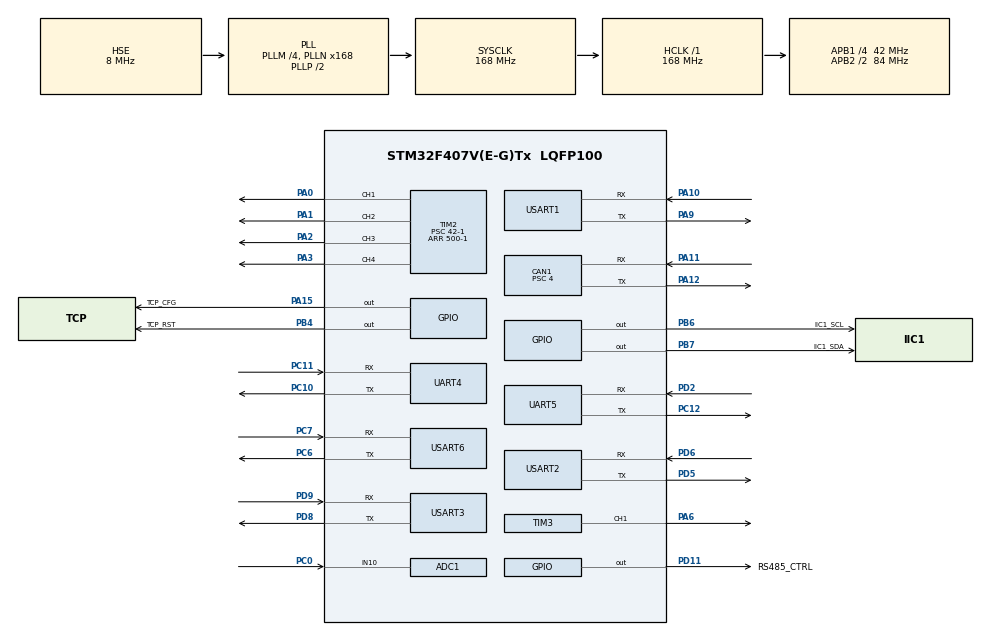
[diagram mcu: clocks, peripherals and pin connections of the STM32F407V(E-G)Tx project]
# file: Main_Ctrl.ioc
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ADC1.Channel-0\#ChannelRegularConversion=ADC_CHANNEL_10
ADC1.NbrOfConversionFlag=1
ADC1.Rank-0\#ChannelRegularConversion=1
ADC1.SamplingTime-0\#ChannelRegularConversion=ADC_SAMPLETIME_3CYCLES
ADC1.master=1
CAN1.BS1=CAN_BS1_14TQ
CAN1.BS2=CAN_BS2_6TQ
CAN1.CalculateBaudRate=500000
CAN1.CalculateTimeBit=2000
CAN1.CalculateTimeQuantum=95.23809523809524
CAN1.Prescaler=4
Dma.Request0=USART1_RX
Dma.Request1=USART1_TX
Dma.Request10=UART4_RX
Dma.Request11=UART4_TX
Dma.Request2=USART3_RX
Dma.Request3=USART3_TX
Dma.Request4=UART5_TX
Dma.Request5=UART5_RX
Dma.Request6=USART6_RX
Dma.Request7=USART6_TX
Dma.Request8=USART2_RX
Dma.Request9=USART2_TX
Dma.UART4_RX.10.Direction=DMA_PERIPH_TO_MEMORY
Dma.UART4_RX.10.FIFOMode=DMA_FIFOMODE_DISABLE
Dma.UART4_RX.10.Instance=DMA1_Stream2
Dma.UART4_RX.10.MemDataAlignment=DMA_MDATAALIGN_BYTE
Dma.UART4_RX.10.MemInc=DMA_MINC_ENABLE
Dma.UART4_RX.10.Mode=DMA_CIRCULAR
Dma.UART4_RX.10.PeriphDataAlignment=DMA_PDATAALIGN_BYTE
Dma.UART4_RX.10.PeriphInc=DMA_PINC_DISABLE
Dma.UART4_RX.10.Priority=DMA_PRIORITY_LOW
Dma.UART4_TX.11.Direction=DMA_MEMORY_TO_PERIPH
Dma.UART4_TX.11.FIFOMode=DMA_FIFOMODE_DISABLE
Dma.UART4_TX.11.Instance=DMA1_Stream4
Dma.UART4_TX.11.MemDataAlignment=DMA_MDATAALIGN_BYTE
Dma.UART4_TX.11.MemInc=DMA_MINC_ENABLE
Dma.UART4_TX.11.Mode=DMA_NORMAL
Dma.UART4_TX.11.PeriphDataAlignment=DMA_PDATAALIGN_BYTE
Dma.UART4_TX.11.PeriphInc=DMA_PINC_DISABLE
Dma.UART4_TX.11.Priority=DMA_PRIORITY_LOW
Dma.UART5_RX.5.Direction=DMA_PERIPH_TO_MEMORY
Dma.UART5_RX.5.FIFOMode=DMA_FIFOMODE_DISABLE
Dma.UART5_RX.5.Instance=DMA1_Stream0
Dma.UART5_RX.5.MemDataAlignment=DMA_MDATAALIGN_BYTE
Dma.UART5_RX.5.MemInc=DMA_MINC_ENABLE
Dma.UART5_RX.5.Mode=DMA_CIRCULAR
Dma.UART5_RX.5.PeriphDataAlignment=DMA_PDATAALIGN_BYTE
Dma.UART5_RX.5.PeriphInc=DMA_PINC_DISABLE
Dma.UART5_RX.5.Priority=DMA_PRIORITY_LOW
Dma.UART5_TX.4.Direction=DMA_MEMORY_TO_PERIPH
Dma.UART5_TX.4.FIFOMode=DMA_FIFOMODE_DISABLE
Dma.UART5_TX.4.Instance=DMA1_Stream7
Dma.UART5_TX.4.MemDataAlignment=DMA_MDATAALIGN_BYTE
Dma.UART5_TX.4.MemInc=DMA_MINC_ENABLE
Dma.UART5_TX.4.Mode=DMA_NORMAL
Dma.UART5_TX.4.PeriphDataAlignment=DMA_PDATAALIGN_BYTE
Dma.UART5_TX.4.PeriphInc=DMA_PINC_DISABLE
Dma.UART5_TX.4.Priority=DMA_PRIORITY_LOW
Dma.USART1_RX.0.Direction=DMA_PERIPH_TO_MEMORY
Dma.USART1_RX.0.FIFOMode=DMA_FIFOMODE_DISABLE
Dma.USART1_RX.0.Instance=DMA2_Stream2
Dma.USART1_RX.0.MemDataAlignment=DMA_MDATAALIGN_BYTE
Dma.USART1_RX.0.MemInc=DMA_MINC_ENABLE
Dma.USART1_RX.0.Mode=DMA_CIRCULAR
Dma.USART1_RX.0.PeriphDataAlignment=DMA_PDATAALIGN_BYTE
Dma.USART1_RX.0.PeriphInc=DMA_PINC_DISABLE
Dma.USART1_RX.0.Priority=DMA_PRIORITY_LOW
Dma.USART1_TX.1.Direction=DMA_MEMORY_TO_PERIPH
Dma.USART1_TX.1.FIFOMode=DMA_FIFOMODE_DISABLE
Dma.USART1_TX.1.Instance=DMA2_Stream7
Dma.USART1_TX.1.MemDataAlignment=DMA_MDATAALIGN_BYTE
Dma.USART1_TX.1.MemInc=DMA_MINC_ENABLE
Dma.USART1_TX.1.Mode=DMA_NORMAL
Dma.USART1_TX.1.PeriphDataAlignment=DMA_PDATAALIGN_BYTE
Dma.USART1_TX.1.PeriphInc=DMA_PINC_DISABLE
Dma.USART1_TX.1.Priority=DMA_PRIORITY_LOW
Dma.USART2_RX.8.Direction=DMA_PERIPH_TO_MEMORY
Dma.USART2_RX.8.FIFOMode=DMA_FIFOMODE_DISABLE
Dma.USART2_RX.8.Instance=DMA1_Stream5
Dma.USART2_RX.8.MemDataAlignment=DMA_MDATAALIGN_BYTE
Dma.USART2_RX.8.MemInc=DMA_MINC_ENABLE
Dma.USART2_RX.8.Mode=DMA_CIRCULAR
Dma.USART2_RX.8.PeriphDataAlignment=DMA_PDATAALIGN_BYTE
Dma.USART2_RX.8.PeriphInc=DMA_PINC_DISABLE
Dma.USART2_RX.8.Priority=DMA_PRIORITY_LOW
Dma.USART2_TX.9.Direction=DMA_MEMORY_TO_PERIPH
Dma.USART2_TX.9.FIFOMode=DMA_FIFOMODE_DISABLE
Dma.USART2_TX.9.Instance=DMA1_Stream6
Dma.USART2_TX.9.MemDataAlignment=DMA_MDATAALIGN_BYTE
Dma.USART2_TX.9.MemInc=DMA_MINC_ENABLE
Dma.USART2_TX.9.Mode=DMA_NORMAL
Dma.USART2_TX.9.PeriphDataAlignment=DMA_PDATAALIGN_BYTE
Dma.USART2_TX.9.PeriphInc=DMA_PINC_DISABLE
Dma.USART2_TX.9.Priority=DMA_PRIORITY_LOW
Dma.USART3_RX.2.Direction=DMA_PERIPH_TO_MEMORY
Dma.USART3_RX.2.FIFOMode=DMA_FIFOMODE_DISABLE
Dma.USART3_RX.2.Instance=DMA1_Stream1
Dma.USART3_RX.2.MemDataAlignment=DMA_MDATAALIGN_BYTE
Dma.USART3_RX.2.MemInc=DMA_MINC_ENABLE
Dma.USART3_RX.2.Mode=DMA_CIRCULAR
Dma.USART3_RX.2.PeriphDataAlignment=DMA_PDATAALIGN_BYTE
Dma.USART3_RX.2.PeriphInc=DMA_PINC_DISABLE
Dma.USART3_RX.2.Priority=DMA_PRIORITY_LOW
Dma.USART3_TX.3.Direction=DMA_MEMORY_TO_PERIPH
Dma.USART3_TX.3.FIFOMode=DMA_FIFOMODE_DISABLE
Dma.USART3_TX.3.Instance=DMA1_Stream3
Dma.USART3_TX.3.MemDataAlignment=DMA_MDATAALIGN_BYTE
Dma.USART3_TX.3.MemInc=DMA_MINC_ENABLE
Dma.USART3_TX.3.Mode=DMA_NORMAL
Dma.USART3_TX.3.PeriphDataAlignment=DMA_PDATAALIGN_BYTE
Dma.USART3_TX.3.PeriphInc=DMA_PINC_DISABLE
Dma.USART3_TX.3.Priority=DMA_PRIORITY_LOW
Dma.USART6_RX.6.Direction=DMA_PERIPH_TO_MEMORY
Dma.USART6_RX.6.FIFOMode=DMA_FIFOMODE_DISABLE
Dma.USART6_RX.6.Instance=DMA2_Stream1
Dma.USART6_RX.6.MemDataAlignment=DMA_MDATAALIGN_BYTE
Dma.USART6_RX.6.MemInc=DMA_MINC_ENABLE
Dma.USART6_RX.6.Mode=DMA_CIRCULAR
Dma.USART6_RX.6.PeriphDataAlignment=DMA_PDATAALIGN_BYTE
Dma.USART6_RX.6.PeriphInc=DMA_PINC_DISABLE
Dma.USART6_RX.6.Priority=DMA_PRIORITY_LOW
Dma.USART6_TX.7.Direction=DMA_MEMORY_TO_PERIPH
Dma.USART6_TX.7.FIFOMode=DMA_FIFOMODE_DISABLE
Dma.USART6_TX.7.Instance=DMA2_Stream6
Dma.USART6_TX.7.MemDataAlignment=DMA_MDATAALIGN_BYTE
Dma.USART6_TX.7.MemInc=DMA_MINC_ENABLE
Dma.USART6_TX.7.Mode=DMA_NORMAL
Dma.USART6_TX.7.PeriphDataAlignment=DMA_PDATAALIGN_BYTE
Dma.USART6_TX.7.PeriphInc=DMA_PINC_DISABLE
Dma.USART6_TX.7.Priority=DMA_PRIORITY_LOW
FREERTOS.Mutexes01=Vertical_Mutex,Dynamic,NULL,Available;Horizontal_Mutex,Dynamic,NULL,Available
FREERTOS.Tasks01=defaultTask,24,128,StartDefaultTask,Default,NULL,Dynamic,NULL,NULL;CAN1_Propel_TasK,52,128,CAN1_SendData,As external,NULL,Dynamic,NULL,NULL;ROV_Feedback_Task,51,128,ROV_FeedbackData,As external,NULL,Dynamic,NULL,NULL;ROV_Receive_Task,54,256,ROV_ReceiveData,As external,NULL,Dynamic,NULL,NULL;Init_Task,55,128,Global_Init,Default,NULL,Dynamic,NULL,NULL;Cabin_Env_Data_Task,50,128,ControlCabin_GetData,Default,NULL,Dynamic,NULL,NULL;PWM_Task,50,128,PWM_Ctrl,Default,NULL,Dynamic,NULL,NULL;Press_Data_Task,51,128,Press_DataPro,As external,NULL,Dynamic,NULL,NULL;Compass_Data_Task,51,128,Compass_GetData,As external,NULL,Dynamic,NULL,NULL;RS485_Propel_Tx_Task,52,128,RS485_Propel_Set,As external,NULL,Dynamic,NULL,NULL;RS485_Propel_Rx_Task,52,128,RS485_Propel_Receive,As external,NULL,Dynamic,NULL,NULL;Manual_V_Task,53,128,Manual_V_Ctrl,As external,NULL,Dynamic,NULL,NULL;Manual_H_Task,53,128,Manual_H_Ctrl,As external,NULL,Dynamic,NULL,NULL;Auto_V_Task,53,128,Auto_V_Ctrl,As external,NULL,Dynamic,NULL,NULL;Auto_H_Task,53,128,Auto_H_Ctrl,As external,NULL,Dynamic,NULL,NULL;Enc_Data_Task,50,128,Encoder_Data_Get,As external,NULL,Dynamic,NULL,NULL
FREERTOS.Timers01=Timer_Standby,Standby_Callback,osTimerPeriodic,Default,NULL,Dynamic,NULL
FREERTOS.configMAX_TASK_NAME_LEN=24
Mcu.Family=STM32F4
Mcu.Name=STM32F407V(E-G)Tx
Mcu.Package=LQFP100
NVIC.CAN1_RX0_IRQn=true\:5\:0\:false\:false\:true\:true\:true\:true\:true
NVIC.DMA1_Stream0_IRQn=true\:5\:0\:false\:false\:true\:true\:false\:true\:true
NVIC.DMA1_Stream1_IRQn=true\:5\:0\:false\:false\:true\:true\:false\:true\:true
NVIC.DMA1_Stream2_IRQn=true\:5\:0\:false\:false\:true\:true\:false\:true\:true
NVIC.DMA1_Stream3_IRQn=true\:5\:0\:false\:false\:true\:true\:false\:true\:true
NVIC.DMA1_Stream4_IRQn=true\:5\:0\:false\:false\:true\:true\:false\:true\:true
NVIC.DMA1_Stream5_IRQn=true\:5\:0\:false\:false\:true\:true\:false\:true\:true
NVIC.DMA1_Stream6_IRQn=true\:5\:0\:false\:false\:true\:true\:false\:true\:true
NVIC.DMA1_Stream7_IRQn=true\:5\:0\:false\:false\:true\:true\:false\:true\:true
NVIC.DMA2_Stream1_IRQn=true\:5\:0\:false\:false\:true\:true\:false\:true\:true
NVIC.DMA2_Stream2_IRQn=true\:5\:0\:false\:false\:true\:true\:false\:true\:true
NVIC.DMA2_Stream6_IRQn=true\:5\:0\:false\:false\:true\:true\:false\:true\:true
NVIC.DMA2_Stream7_IRQn=true\:5\:0\:false\:false\:true\:true\:false\:true\:true
NVIC.PriorityGroup=NVIC_PRIORITYGROUP_4
NVIC.TIM7_IRQn=true\:0\:0\:true\:false\:true\:false\:false\:true\:true
NVIC.TimeBase=TIM7_IRQn
NVIC.TimeBaseIP=TIM7
NVIC.UART4_IRQn=true\:5\:0\:false\:false\:true\:true\:true\:true\:true
NVIC.UART5_IRQn=true\:5\:0\:false\:false\:true\:true\:true\:true\:true
NVIC.USART1_IRQn=true\:5\:0\:false\:false\:true\:true\:true\:true\:true
NVIC.USART2_IRQn=true\:5\:0\:false\:false\:true\:true\:true\:true\:true
NVIC.USART3_IRQn=true\:5\:0\:false\:false\:true\:true\:true\:true\:true
NVIC.USART6_IRQn=true\:5\:0\:false\:false\:true\:true\:true\:true\:true
PA0-WKUP.Signal=S_TIM2_CH1_ETR
PA1.Signal=S_TIM2_CH2
PA10.Mode=Asynchronous
PA10.Signal=USART1_RX
PA11.Mode=CAN_Activate
PA11.Signal=CAN1_RX
PA12.Mode=CAN_Activate
PA12.Signal=CAN1_TX
PA13.Mode=Serial_Wire
PA13.Signal=SYS_JTMS-SWDIO
PA14.Mode=Serial_Wire
PA14.Signal=SYS_JTCK-SWCLK
PA15.GPIO_Label=TCP_CFG
PA15.PinState=GPIO_PIN_SET
PA15.Signal=GPIO_Output
PA2.Signal=S_TIM2_CH3
PA3.Signal=S_TIM2_CH4
PA6.Signal=S_TIM3_CH1
PA9.Mode=Asynchronous
PA9.Signal=USART1_TX
PB4.GPIO_Label=TCP_RST
PB4.PinState=GPIO_PIN_SET
PB4.Signal=GPIO_Output
PB6.GPIO_Label=IIC1_SCL
PB6.GPIO_PuPd=GPIO_PULLUP
PB6.GPIO_Speed=GPIO_SPEED_FREQ_HIGH
PB6.Signal=GPIO_Output
PB7.GPIO_Label=IIC1_SDA
PB7.GPIO_ModeDefaultOutputPP=GPIO_MODE_OUTPUT_OD
PB7.GPIO_PuPd=GPIO_PULLUP
PB7.GPIO_Speed=GPIO_SPEED_FREQ_HIGH
PB7.Signal=GPIO_Output
PC0.Signal=ADCx_IN10
PC10.Mode=Asynchronous
PC10.Signal=UART4_TX
PC11.Mode=Asynchronous
PC11.Signal=UART4_RX
PC12.Mode=Asynchronous
PC12.Signal=UART5_TX
PC6.Mode=Asynchronous
PC6.Signal=USART6_TX
PC7.Mode=Asynchronous
PC7.Signal=USART6_RX
PD11.GPIO_Label=RS485_CTRL
PD11.GPIO_PuPd=GPIO_PULLUP
PD11.Signal=GPIO_Output
PD2.Mode=Asynchronous
PD2.Signal=UART5_RX
PD5.Mode=Asynchronous
PD5.Signal=USART2_TX
PD6.Mode=Asynchronous
PD6.Signal=USART2_RX
PD8.Mode=Asynchronous
PD8.Signal=USART3_TX
PD9.Mode=Asynchronous
PD9.Signal=USART3_RX
PH0-OSC_IN.Mode=HSE-External-Oscillator
PH0-OSC_IN.Signal=RCC_OSC_IN
PH1-OSC_OUT.Mode=HSE-External-Oscillator
PH1-OSC_OUT.Signal=RCC_OSC_OUT
ProjectManager.HeapSize=0x200
ProjectManager.StackSize=0x400
ProjectManager.TargetToolchain=MDK-ARM V5.32
RCC.48MHZClocksFreq_Value=84000000
RCC.AHBFreq_Value=168000000
RCC.APB1CLKDivider=RCC_HCLK_DIV4
RCC.APB1Freq_Value=42000000
RCC.APB1TimFreq_Value=84000000
RCC.APB2CLKDivider=RCC_HCLK_DIV2
RCC.APB2Freq_Value=84000000
RCC.APB2TimFreq_Value=168000000
RCC.CortexFreq_Value=168000000
RCC.HCLKFreq_Value=168000000
RCC.HSE_VALUE=8000000
RCC.HSI_VALUE=16000000
RCC.LSE_VALUE=32768
RCC.PLLM=4
RCC.PLLN=168
RCC.PLLSourceVirtual=RCC_PLLSOURCE_HSE
RCC.SYSCLKFreq_VALUE=168000000
RCC.SYSCLKSource=RCC_SYSCLKSOURCE_PLLCLK
RCC.VCOOutputFreq_Value=336000000
SH.ADCx_IN10.0=ADC1_IN10,IN10
SH.S_TIM2_CH1_ETR.0=TIM2_CH1,PWM Generation1 CH1
SH.S_TIM2_CH2.0=TIM2_CH2,PWM Generation2 CH2
SH.S_TIM2_CH3.0=TIM2_CH3,PWM Generation3 CH3
SH.S_TIM2_CH4.0=TIM2_CH4,PWM Generation4 CH4
SH.S_TIM3_CH1.0=TIM3_CH1,PWM Generation1 CH1
TIM2.Channel-PWM\ Generation1\ CH1=TIM_CHANNEL_1
TIM2.Channel-PWM\ Generation2\ CH2=TIM_CHANNEL_2
TIM2.Channel-PWM\ Generation3\ CH3=TIM_CHANNEL_3
TIM2.Channel-PWM\ Generation4\ CH4=TIM_CHANNEL_4
TIM2.Period=500-1
TIM2.Prescaler=42-1
TIM2.Pulse-PWM\ Generation1\ CH1=0
TIM2.Pulse-PWM\ Generation2\ CH2=0
TIM2.Pulse-PWM\ Generation3\ CH3=0
TIM2.Pulse-PWM\ Generation4\ CH4=0
TIM3.Channel-PWM\ Generation1\ CH1=TIM_CHANNEL_1
TIM3.Period=20000-1
TIM3.Prescaler=84-1
TIM3.Pulse-PWM\ Generation1\ CH1=1500-1
UART4.VirtualMode=Asynchronous
UART5.VirtualMode=Asynchronous
USART1.VirtualMode=VM_ASYNC
USART2.VirtualMode=VM_ASYNC
USART3.VirtualMode=VM_ASYNC
USART6.VirtualMode=VM_ASYNC
VP_FREERTOS_VS_CMSIS_V2.Mode=CMSIS_V2
VP_SYS_VS_tim7.Mode=TIM7
VP_TIM2_VS_ClockSourceINT.Mode=Internal
VP_TIM3_VS_ClockSourceINT.Mode=Internal
board=custom

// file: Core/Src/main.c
/* USER CODE BEGIN Header */
/**
  ******************************************************************************
  * @file           : main.c
  * @brief          : Main program body
  ******************************************************************************
  * @attention
  *
  * Copyright (c) 2025 STMicroelectronics.
  * All rights reserved.
  *
  * This software is licensed under terms that can be found in the LICENSE file
  * in the root directory of this software component.
  * If no LICENSE file comes with this software, it is provided AS-IS.
  *
  ******************************************************************************
  */
/* USER CODE END Header */
#include "main.h"
#include "cmsis_os.h"
#include "adc.h"
#include "can.h"
#include "dma.h"
#include "tim.h"
#include "usart.h"
#include "gpio.h"

/* USER CODE BEGIN Includes */
#include "Global_Define.h"
/* USER CODE END Includes */

void SystemClock_Config(void);
void MX_FREERTOS_Init(void);

int main(void)
{

  /* MCU Configuration--------------------------------------------------------*/

  /* Reset of all peripherals, Initializes the Flash interface and the Systick. */
  HAL_Init();

  /* Configure the system clock */
  SystemClock_Config();

  /* Initialize all configured peripherals */
  MX_GPIO_Init();
  MX_DMA_Init();
  MX_USART1_UART_Init();
  MX_CAN1_Init();
  MX_USART2_UART_Init();
  MX_UART4_Init();
  MX_USART3_UART_Init();
  MX_UART5_Init();
  MX_USART6_UART_Init();
  MX_TIM2_Init();
  MX_TIM3_Init();
  MX_ADC1_Init();

  /* Init scheduler */
  osKernelInitialize();

  /* Call init function for freertos objects (in cmsis_os2.c) */
  MX_FREERTOS_Init();

  /* Start scheduler */
  osKernelStart();

  /* We should never get here as control is now taken by the scheduler */

  /* Infinite loop */
  while (1)
  {

  }
}

void SystemClock_Config(void)
{
  RCC_OscInitTypeDef RCC_OscInitStruct = {0};
  RCC_ClkInitTypeDef RCC_ClkInitStruct = {0};

  /** Configure the main internal regulator output voltage
  */
  __HAL_RCC_PWR_CLK_ENABLE();
  __HAL_PWR_VOLTAGESCALING_CONFIG(PWR_REGULATOR_VOLTAGE_SCALE1);

  /** Initializes the RCC Oscillators according to the specified parameters
  * in the RCC_OscInitTypeDef structure.
  */
  RCC_OscInitStruct.OscillatorType = RCC_OSCILLATORTYPE_HSE;
  RCC_OscInitStruct.HSEState = RCC_HSE_ON;
  RCC_OscInitStruct.PLL.PLLState = RCC_PLL_ON;
  RCC_OscInitStruct.PLL.PLLSource = RCC_PLLSOURCE_HSE;
  RCC_OscInitStruct.PLL.PLLM = 4;
  RCC_OscInitStruct.PLL.PLLN = 168;
  RCC_OscInitStruct.PLL.PLLP = RCC_PLLP_DIV2;
  RCC_OscInitStruct.PLL.PLLQ = 4;
  if (HAL_RCC_OscConfig(&RCC_OscInitStruct) != HAL_OK)
  {
    Error_Handler();
  }

  /** Initializes the CPU, AHB and APB buses clocks
  */
  RCC_ClkInitStruct.ClockType = RCC_CLOCKTYPE_HCLK|RCC_CLOCKTYPE_SYSCLK
                              |RCC_CLOCKTYPE_PCLK1|RCC_CLOCKTYPE_PCLK2;
  RCC_ClkInitStruct.SYSCLKSource = RCC_SYSCLKSOURCE_PLLCLK;
  RCC_ClkInitStruct.AHBCLKDivider = RCC_SYSCLK_DIV1;
  RCC_ClkInitStruct.APB1CLKDivider = RCC_HCLK_DIV4;
  RCC_ClkInitStruct.APB2CLKDivider = RCC_HCLK_DIV2;

  if (HAL_RCC_ClockConfig(&RCC_ClkInitStruct, FLASH_LATENCY_5) != HAL_OK)
  {
    Error_Handler();
  }
}

void HAL_TIM_PeriodElapsedCallback(TIM_HandleTypeDef *htim)
{
  if (htim->Instance == TIM7) {
    HAL_IncTick();
  }
}

void Error_Handler(void)
{
  __disable_irq();
  while (1)
  {
  }
}

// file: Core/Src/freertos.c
/* USER CODE BEGIN Header */
/**
  ******************************************************************************
  * File Name          : freertos.c
  * Description        : Code for freertos applications
  ******************************************************************************
  * @attention
  *
  * Copyright (c) 2025 STMicroelectronics.
  * All rights reserved.
  *
  * This software is licensed under terms that can be found in the LICENSE file
  * in the root directory of this software component.
  * If no LICENSE file comes with this software, it is provided AS-IS.
  *
  ******************************************************************************
  */
/* USER CODE END Header */

#include "FreeRTOS.h"
#include "task.h"
#include "main.h"
#include "cmsis_os.h"

/* USER CODE BEGIN Includes */
#include "Global_Define.h"
/* USER CODE END Includes */

/* Definitions for defaultTask */
osThreadId_t defaultTaskHandle;
const osThreadAttr_t defaultTask_attributes = {
  .name = "defaultTask",
  .stack_size = 128 * 4,
  .priority = (osPriority_t) osPriorityNormal,
};
/* Definitions for CAN1_Propel_TasK */
osThreadId_t CAN1_Propel_TasKHandle;
const osThreadAttr_t CAN1_Propel_TasK_attributes = {
  .name = "CAN1_Propel_TasK",
  .stack_size = 128 * 4,
  .priority = (osPriority_t) osPriorityRealtime4,
};
/* Definitions for ROV_Feedback_Task */
osThreadId_t ROV_Feedback_TaskHandle;
const osThreadAttr_t ROV_Feedback_Task_attributes = {
  .name = "ROV_Feedback_Task",
  .stack_size = 128 * 4,
  .priority = (osPriority_t) osPriorityRealtime3,
};
/* Definitions for ROV_Receive_Task */
osThreadId_t ROV_Receive_TaskHandle;
const osThreadAttr_t ROV_Receive_Task_attributes = {
  .name = "ROV_Receive_Task",
  .stack_size = 256 * 4,
  .priority = (osPriority_t) osPriorityRealtime6,
};
/* Definitions for Init_Task */
osThreadId_t Init_TaskHandle;
const osThreadAttr_t Init_Task_attributes = {
  .name = "Init_Task",
  .stack_size = 128 * 4,
  .priority = (osPriority_t) osPriorityRealtime7,
};
/* Definitions for Cabin_Env_Data_Task */
osThreadId_t Cabin_Env_Data_TaskHandle;
const osThreadAttr_t Cabin_Env_Data_Task_attributes = {
  .name = "Cabin_Env_Data_Task",
  .stack_size = 128 * 4,
  .priority = (osPriority_t) osPriorityRealtime2,
};
/* Definitions for PWM_Task */
osThreadId_t PWM_TaskHandle;
const osThreadAttr_t PWM_Task_attributes = {
  .name = "PWM_Task",
  .stack_size = 128 * 4,
  .priority = (osPriority_t) osPriorityRealtime2,
};
/* Definitions for Press_Data_Task */
osThreadId_t Press_Data_TaskHandle;
const osThreadAttr_t Press_Data_Task_attributes = {
  .name = "Press_Data_Task",
  .stack_size = 128 * 4,
  .priority = (osPriority_t) osPriorityRealtime3,
};
/* Definitions for Compass_Data_Task */
osThreadId_t Compass_Data_TaskHandle;
const osThreadAttr_t Compass_Data_Task_attributes = {
  .name = "Compass_Data_Task",
  .stack_size = 128 * 4,
  .priority = (osPriority_t) osPriorityRealtime3,
};
/* Definitions for RS485_Propel_Tx_Task */
osThreadId_t RS485_Propel_TaskHandle;
const osThreadAttr_t RS485_Propel_Task_attributes = {
  .name = "RS485_Propel_Task",
  .stack_size = 128 * 4,
  .priority = (osPriority_t) osPriorityRealtime4,
};

/* Definitions for Manual_V_Task */
osThreadId_t Manual_V_TaskHandle;
const osThreadAttr_t Manual_V_Task_attributes = {
  .name = "Manual_V_Task",
  .stack_size = 128 * 4,
  .priority = (osPriority_t) osPriorityRealtime5,
};
/* Definitions for Manual_H_Task */
osThreadId_t Manual_H_TaskHandle;
const osThreadAttr_t Manual_H_Task_attributes = {
  .name = "Manual_H_Task",
  .stack_size = 128 * 4,
  .priority = (osPriority_t) osPriorityRealtime5,
};
/* Definitions for Auto_V_Task */
osThreadId_t Auto_V_TaskHandle;
const osThreadAttr_t Auto_V_Task_attributes = {
  .name = "Auto_V_Task",
  .stack_size = 128 * 4,
  .priority = (osPriority_t) osPriorityRealtime5,
};
/* Definitions for Auto_H_Task */
osThreadId_t Auto_H_TaskHandle;
const osThreadAttr_t Auto_H_Task_attributes = {
  .name = "Auto_H_Task",
  .stack_size = 128 * 4,
  .priority = (osPriority_t) osPriorityRealtime5,
};
/* Definitions for Enc_Data_Task */
osThreadId_t Enc_Data_TaskHandle;
const osThreadAttr_t Enc_Data_Task_attributes = {
  .name = "Enc_Data_Task",
  .stack_size = 128 * 4,
  .priority = (osPriority_t) osPriorityRealtime2,
};
/* Definitions for Timer_Standby */
osTimerId_t Timer_StandbyHandle;
const osTimerAttr_t Timer_Standby_attributes = {
  .name = "Timer_Standby"
};
/* Definitions for Vertical_Mutex */
osMutexId_t Vertical_MutexHandle;
const osMutexAttr_t Vertical_Mutex_attributes = {
  .name = "Vertical_Mutex"
};
/* Definitions for Horizontal_Mutex */
osMutexId_t Horizontal_MutexHandle;
const osMutexAttr_t Horizontal_Mutex_attributes = {
  .name = "Horizontal_Mutex"
};

void StartDefaultTask(void *argument);
extern void CAN1_SendData(void *argument);
extern void ROV_FeedbackData(void *argument);
extern void ROV_ReceiveData(void *argument);
void Global_Init(void *argument);
void ControlCabin_GetData(void *argument);
void PWM_Ctrl(void *argument);
extern void Press_DataPro(void *argument);
extern void Compass_GetData(void *argument);
extern void Prop_485_Task(void *argument);
extern void RS485_Propel_Receive(void *argument);
extern void Manual_V_Ctrl(void *argument);
extern void Manual_H_Ctrl(void *argument);
extern void Auto_V_Ctrl(void *argument);
extern void Auto_H_Ctrl(void *argument);
extern void Encoder_Data_Get(void *argument);
void Standby_Callback(void *argument);

void MX_FREERTOS_Init(void); /* (MISRA C 2004 rule 8.1) */

void MX_FREERTOS_Init(void) {
  /* Create the mutex(es) */
  /* creation of Vertical_Mutex */
  Vertical_MutexHandle = osMutexNew(&Vertical_Mutex_attributes);

  /* creation of Horizontal_Mutex */
  Horizontal_MutexHandle = osMutexNew(&Horizontal_Mutex_attributes);

  /* Create the timer(s) */
  /* creation of Timer_Standby */
  Timer_StandbyHandle = osTimerNew(Standby_Callback, osTimerPeriodic, NULL, &Timer_Standby_attributes);

  /* Create the thread(s) */
  /* creation of defaultTask */
  defaultTaskHandle = osThreadNew(StartDefaultTask, NULL, &defaultTask_attributes);

  /* creation of CAN1_Propel_TasK */
  CAN1_Propel_TasKHandle = osThreadNew(CAN1_SendData, NULL, &CAN1_Propel_TasK_attributes);

  /* creation of ROV_Feedback_Task */
  ROV_Feedback_TaskHandle = osThreadNew(ROV_FeedbackData, NULL, &ROV_Feedback_Task_attributes);

  /* creation of ROV_Receive_Task */
  ROV_Receive_TaskHandle = osThreadNew(ROV_ReceiveData, NULL, &ROV_Receive_Task_attributes);

  /* creation of Init_Task */
  Init_TaskHandle = osThreadNew(Global_Init, NULL, &Init_Task_attributes);

  /* creation of Cabin_Env_Data_Task */
  Cabin_Env_Data_TaskHandle = osThreadNew(ControlCabin_GetData, NULL, &Cabin_Env_Data_Task_attributes);

  /* creation of PWM_Task */
  PWM_TaskHandle = osThreadNew(PWM_Ctrl, NULL, &PWM_Task_attributes);

  /* creation of Press_Data_Task */
  Press_Data_TaskHandle = osThreadNew(Press_DataPro, NULL, &Press_Data_Task_attributes);

  /* creation of Compass_Data_Task */
  Compass_Data_TaskHandle = osThreadNew(Compass_GetData, NULL, &Compass_Data_Task_attributes);

  /* creation of RS485_Propel_Tx_Task */
  RS485_Propel_TaskHandle = osThreadNew(Prop_485_Task, NULL, &RS485_Propel_Task_attributes);

  /* creation of Manual_V_Task */
  Manual_V_TaskHandle = osThreadNew(Manual_V_Ctrl, NULL, &Manual_V_Task_attributes);

  /* creation of Manual_H_Task */
  Manual_H_TaskHandle = osThreadNew(Manual_H_Ctrl, NULL, &Manual_H_Task_attributes);

//  /* creation of Auto_V_Task */
//  Auto_V_TaskHandle = osThreadNew(Auto_V_Ctrl, NULL, &Auto_V_Task_attributes);

//  /* creation of Auto_H_Task */
//  Auto_H_TaskHandle = osThreadNew(Auto_H_Ctrl, NULL, &Auto_H_Task_attributes);

  /* creation of Enc_Data_Task */
//  Enc_Data_TaskHandle = osThreadNew(Encoder_Data_Get, NULL, &Enc_Data_Task_attributes);

}

void StartDefaultTask(void *argument)
{
  /* USER CODE BEGIN StartDefaultTask */
  /* Infinite loop */
  for(;;)
  {
		/* 正常运行的代码永远不会执行到这里 */
    osDelay(1);
  }
  /* USER CODE END StartDefaultTask */
}

void Global_Init(void *argument)
{
  /* USER CODE BEGIN Global_Init */

	/* 关闭调度器--禁止任务切换 */
  vTaskSuspendAll();

	/* PID初始化 */
	AutoParameter_Init();

	/* CAN初始化 */
	CAN_Config();

	/* 六路串口初始化 */
	User_UART_Init();

	/* LED初始化 */
  LED_Init();

	/* 电子罗盘初始化 */
	Compass_Init();

	/* 旋转编码器初始化 */
//	Enc_Init();

	/* 温湿度传感器初始化 */
	SHT3X_Init(0x44);
	hSHT30.error = SHT3X_SoftReset();
	HAL_Delay(10);
	hSHT30.error |= SHT3X_ReadStatus(&hSHT30.status.u16);
	hSHT30.error = SHT3X_StartPeriodicMeasurment(REPEATAB_HIGH, FREQUENCY_4HZ);

	Prop_Init();

	/* 推进器初始化 */
	CAN_Prop_Init();
	RS485_Prop_Init();

	/* 待机定时器初始化 */
	osTimerStart(Timer_StandbyHandle, 3000);

	/* 重新打开调度器 */
  xTaskResumeAll();

	/* 深度传感器初始化 */
	ROV_Press_Init();

	/* 初始化完成--自删除 */
	vTaskDelete(NULL);

  /* USER CODE END Global_Init */
}

void ControlCabin_GetData(void *argument)
{
  /* USER CODE BEGIN ControlCabin_GetData */

	/* 记录起始节拍 */
	static TickType_t xLastWakeTime;
  xLastWakeTime = xTaskGetTickCount();

  /* Infinite loop */
  for(;;)
  {
    /* 控制仓温湿度 */
		hSHT30.error = SHT3X_ReadMeasurementBuffer(&hSHT30.temperature, &hSHT30.humidity);

		/* 控制仓气压 */
		AD_GetValue();

		/* 任务总时长固定100ms */
    vTaskDelayUntil(&xLastWakeTime, pdMS_TO_TICKS(100));
  }
  /* USER CODE END ControlCabin_GetData */
}

void PWM_Ctrl(void *argument)
{
  /* USER CODE BEGIN PWM_Ctrl */

	/* 记录起始节拍 */
	static TickType_t xLastWakeTime;
  xLastWakeTime = xTaskGetTickCount();

  /* Infinite loop */
  for(;;)
  {
		/* LED控制 */
		LED_Ctrl();

    /* 任务总时长固定50ms */
    vTaskDelayUntil(&xLastWakeTime, pdMS_TO_TICKS(50));
  }
  /* USER CODE END PWM_Ctrl */
}

/* Standby_Callback function */
void Standby_Callback(void *argument)
{
  /* USER CODE BEGIN Standby_Callback */

	/* 收到数据:清理标志,下次再检 */
	if (Comm_Flag) Comm_Flag = false;
	/* 3s未收到数据:进入待机状态,清除所有控制量	*/
	else
	{
		/* 摇杆控制量 */
		for (uint8_t i = R_FB; i <= L_LR; i++)
		{
			JoyStick[i] = 0x80;
		}

		/* 上浮下潜控制量 */
		Prop_Ctrol.Vertical_Value_DEC =0x80;
		Prop_Ctrol.Vertical_Value_ADD =0x80 ;
		/* 灯亮度控制量 */
		for (uint8_t i = 0; i < LED_Device_Num; i++)
		{
			LED.CQ_Current[i] = 0;
		}
		Prop_Init();
	}

  /* USER CODE END Standby_Callback */
}
